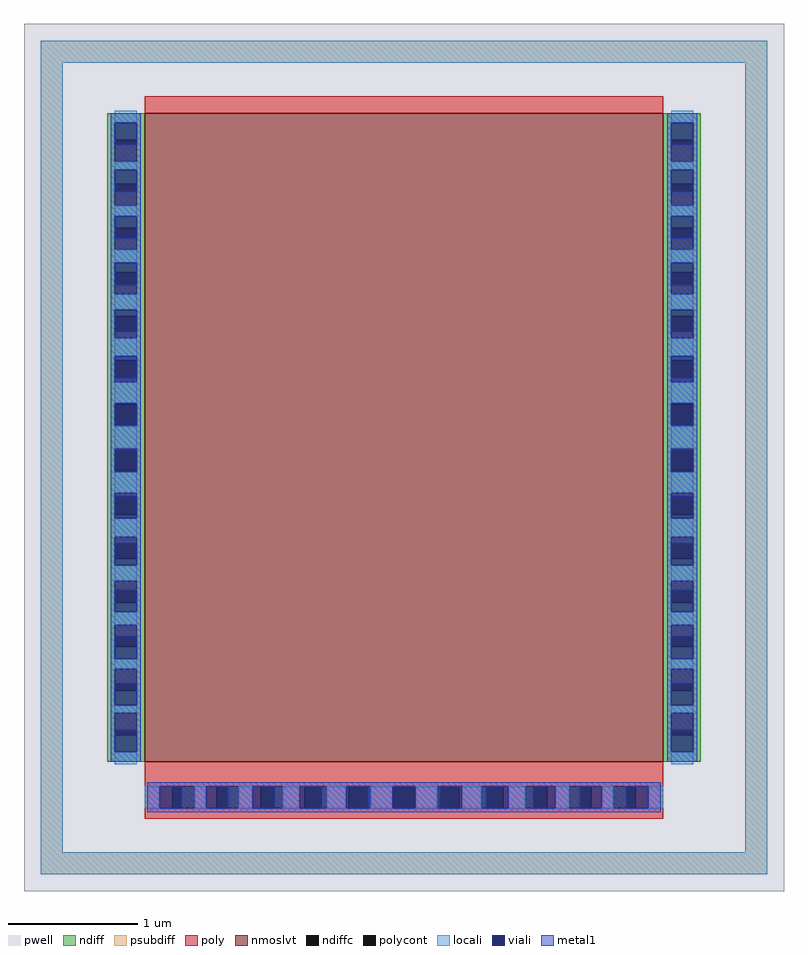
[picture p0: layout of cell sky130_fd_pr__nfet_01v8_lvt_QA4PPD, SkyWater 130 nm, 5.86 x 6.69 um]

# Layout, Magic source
magic
tech sky130A
magscale 1 2
<< pwell >>
rect -586 -669 586 669
<< nmoslvt >>
rect -400 -469 400 531
<< ndiff >>
rect -458 490 -400 531
rect -458 456 -446 490
rect -412 456 -400 490
rect -458 422 -400 456
rect -458 388 -446 422
rect -412 388 -400 422
rect -458 354 -400 388
rect -458 320 -446 354
rect -412 320 -400 354
rect -458 286 -400 320
rect -458 252 -446 286
rect -412 252 -400 286
rect -458 218 -400 252
rect -458 184 -446 218
rect -412 184 -400 218
rect -458 150 -400 184
rect -458 116 -446 150
rect -412 116 -400 150
rect -458 82 -400 116
rect -458 48 -446 82
rect -412 48 -400 82
rect -458 14 -400 48
rect -458 -20 -446 14
rect -412 -20 -400 14
rect -458 -54 -400 -20
rect -458 -88 -446 -54
rect -412 -88 -400 -54
rect -458 -122 -400 -88
rect -458 -156 -446 -122
rect -412 -156 -400 -122
rect -458 -190 -400 -156
rect -458 -224 -446 -190
rect -412 -224 -400 -190
rect -458 -258 -400 -224
rect -458 -292 -446 -258
rect -412 -292 -400 -258
rect -458 -326 -400 -292
rect -458 -360 -446 -326
rect -412 -360 -400 -326
rect -458 -394 -400 -360
rect -458 -428 -446 -394
rect -412 -428 -400 -394
rect -458 -469 -400 -428
rect 400 490 458 531
rect 400 456 412 490
rect 446 456 458 490
rect 400 422 458 456
rect 400 388 412 422
rect 446 388 458 422
rect 400 354 458 388
rect 400 320 412 354
rect 446 320 458 354
rect 400 286 458 320
rect 400 252 412 286
rect 446 252 458 286
rect 400 218 458 252
rect 400 184 412 218
rect 446 184 458 218
rect 400 150 458 184
rect 400 116 412 150
rect 446 116 458 150
rect 400 82 458 116
rect 400 48 412 82
rect 446 48 458 82
rect 400 14 458 48
rect 400 -20 412 14
rect 446 -20 458 14
rect 400 -54 458 -20
rect 400 -88 412 -54
rect 446 -88 458 -54
rect 400 -122 458 -88
rect 400 -156 412 -122
rect 446 -156 458 -122
rect 400 -190 458 -156
rect 400 -224 412 -190
rect 446 -224 458 -190
rect 400 -258 458 -224
rect 400 -292 412 -258
rect 446 -292 458 -258
rect 400 -326 458 -292
rect 400 -360 412 -326
rect 446 -360 458 -326
rect 400 -394 458 -360
rect 400 -428 412 -394
rect 446 -428 458 -394
rect 400 -469 458 -428
<< ndiffc >>
rect -446 456 -412 490
rect -446 388 -412 422
rect -446 320 -412 354
rect -446 252 -412 286
rect -446 184 -412 218
rect -446 116 -412 150
rect -446 48 -412 82
rect -446 -20 -412 14
rect -446 -88 -412 -54
rect -446 -156 -412 -122
rect -446 -224 -412 -190
rect -446 -292 -412 -258
rect -446 -360 -412 -326
rect -446 -428 -412 -394
rect 412 456 446 490
rect 412 388 446 422
rect 412 320 446 354
rect 412 252 446 286
rect 412 184 446 218
rect 412 116 446 150
rect 412 48 446 82
rect 412 -20 446 14
rect 412 -88 446 -54
rect 412 -156 446 -122
rect 412 -224 446 -190
rect 412 -292 446 -258
rect 412 -360 446 -326
rect 412 -428 446 -394
<< psubdiff >>
rect -560 609 560 643
rect -560 -609 -526 609
rect 526 -609 560 609
rect -560 -643 560 -609
<< poly >>
rect -400 531 400 557
rect -400 -507 400 -469
rect -400 -541 -357 -507
rect -323 -541 -289 -507
rect -255 -541 -221 -507
rect -187 -541 -153 -507
rect -119 -541 -85 -507
rect -51 -541 -17 -507
rect 17 -541 51 -507
rect 85 -541 119 -507
rect 153 -541 187 -507
rect 221 -541 255 -507
rect 289 -541 323 -507
rect 357 -541 400 -507
rect -400 -557 400 -541
<< polycont >>
rect -357 -541 -323 -507
rect -289 -541 -255 -507
rect -221 -541 -187 -507
rect -153 -541 -119 -507
rect -85 -541 -51 -507
rect -17 -541 17 -507
rect 51 -541 85 -507
rect 119 -541 153 -507
rect 187 -541 221 -507
rect 255 -541 289 -507
rect 323 -541 357 -507
<< locali >>
rect -560 609 560 643
rect -560 -609 -526 609
rect -446 516 -412 535
rect -446 444 -412 456
rect -446 372 -412 388
rect -446 300 -412 320
rect -446 228 -412 252
rect -446 156 -412 184
rect -446 84 -412 116
rect -446 14 -412 48
rect -446 -54 -412 -22
rect -446 -122 -412 -94
rect -446 -190 -412 -166
rect -446 -258 -412 -238
rect -446 -326 -412 -310
rect -446 -394 -412 -382
rect -446 -473 -412 -454
rect 412 516 446 535
rect 412 444 446 456
rect 412 372 446 388
rect 412 300 446 320
rect 412 228 446 252
rect 412 156 446 184
rect 412 84 446 116
rect 412 14 446 48
rect 412 -54 446 -22
rect 412 -122 446 -94
rect 412 -190 446 -166
rect 412 -258 446 -238
rect 412 -326 446 -310
rect 412 -394 446 -382
rect 412 -473 446 -454
rect -400 -541 -377 -507
rect -323 -541 -305 -507
rect -255 -541 -233 -507
rect -187 -541 -161 -507
rect -119 -541 -89 -507
rect -51 -541 -17 -507
rect 17 -541 51 -507
rect 89 -541 119 -507
rect 161 -541 187 -507
rect 233 -541 255 -507
rect 305 -541 323 -507
rect 377 -541 400 -507
rect 526 -609 560 609
rect -560 -643 560 -609
<< viali >>
rect -446 490 -412 516
rect -446 482 -412 490
rect -446 422 -412 444
rect -446 410 -412 422
rect -446 354 -412 372
rect -446 338 -412 354
rect -446 286 -412 300
rect -446 266 -412 286
rect -446 218 -412 228
rect -446 194 -412 218
rect -446 150 -412 156
rect -446 122 -412 150
rect -446 82 -412 84
rect -446 50 -412 82
rect -446 -20 -412 12
rect -446 -22 -412 -20
rect -446 -88 -412 -60
rect -446 -94 -412 -88
rect -446 -156 -412 -132
rect -446 -166 -412 -156
rect -446 -224 -412 -204
rect -446 -238 -412 -224
rect -446 -292 -412 -276
rect -446 -310 -412 -292
rect -446 -360 -412 -348
rect -446 -382 -412 -360
rect -446 -428 -412 -420
rect -446 -454 -412 -428
rect 412 490 446 516
rect 412 482 446 490
rect 412 422 446 444
rect 412 410 446 422
rect 412 354 446 372
rect 412 338 446 354
rect 412 286 446 300
rect 412 266 446 286
rect 412 218 446 228
rect 412 194 446 218
rect 412 150 446 156
rect 412 122 446 150
rect 412 82 446 84
rect 412 50 446 82
rect 412 -20 446 12
rect 412 -22 446 -20
rect 412 -88 446 -60
rect 412 -94 446 -88
rect 412 -156 446 -132
rect 412 -166 446 -156
rect 412 -224 446 -204
rect 412 -238 446 -224
rect 412 -292 446 -276
rect 412 -310 446 -292
rect 412 -360 446 -348
rect 412 -382 446 -360
rect 412 -428 446 -420
rect 412 -454 446 -428
rect -377 -541 -357 -507
rect -357 -541 -343 -507
rect -305 -541 -289 -507
rect -289 -541 -271 -507
rect -233 -541 -221 -507
rect -221 -541 -199 -507
rect -161 -541 -153 -507
rect -153 -541 -127 -507
rect -89 -541 -85 -507
rect -85 -541 -55 -507
rect -17 -541 17 -507
rect 55 -541 85 -507
rect 85 -541 89 -507
rect 127 -541 153 -507
rect 153 -541 161 -507
rect 199 -541 221 -507
rect 221 -541 233 -507
rect 271 -541 289 -507
rect 289 -541 305 -507
rect 343 -541 357 -507
rect 357 -541 377 -507
<< metal1 >>
rect -452 516 -406 531
rect -452 482 -446 516
rect -412 482 -406 516
rect -452 444 -406 482
rect -452 410 -446 444
rect -412 410 -406 444
rect -452 372 -406 410
rect -452 338 -446 372
rect -412 338 -406 372
rect -452 300 -406 338
rect -452 266 -446 300
rect -412 266 -406 300
rect -452 228 -406 266
rect -452 194 -446 228
rect -412 194 -406 228
rect -452 156 -406 194
rect -452 122 -446 156
rect -412 122 -406 156
rect -452 84 -406 122
rect -452 50 -446 84
rect -412 50 -406 84
rect -452 12 -406 50
rect -452 -22 -446 12
rect -412 -22 -406 12
rect -452 -60 -406 -22
rect -452 -94 -446 -60
rect -412 -94 -406 -60
rect -452 -132 -406 -94
rect -452 -166 -446 -132
rect -412 -166 -406 -132
rect -452 -204 -406 -166
rect -452 -238 -446 -204
rect -412 -238 -406 -204
rect -452 -276 -406 -238
rect -452 -310 -446 -276
rect -412 -310 -406 -276
rect -452 -348 -406 -310
rect -452 -382 -446 -348
rect -412 -382 -406 -348
rect -452 -420 -406 -382
rect -452 -454 -446 -420
rect -412 -454 -406 -420
rect -452 -469 -406 -454
rect 406 516 452 531
rect 406 482 412 516
rect 446 482 452 516
rect 406 444 452 482
rect 406 410 412 444
rect 446 410 452 444
rect 406 372 452 410
rect 406 338 412 372
rect 446 338 452 372
rect 406 300 452 338
rect 406 266 412 300
rect 446 266 452 300
rect 406 228 452 266
rect 406 194 412 228
rect 446 194 452 228
rect 406 156 452 194
rect 406 122 412 156
rect 446 122 452 156
rect 406 84 452 122
rect 406 50 412 84
rect 446 50 452 84
rect 406 12 452 50
rect 406 -22 412 12
rect 446 -22 452 12
rect 406 -60 452 -22
rect 406 -94 412 -60
rect 446 -94 452 -60
rect 406 -132 452 -94
rect 406 -166 412 -132
rect 446 -166 452 -132
rect 406 -204 452 -166
rect 406 -238 412 -204
rect 446 -238 452 -204
rect 406 -276 452 -238
rect 406 -310 412 -276
rect 446 -310 452 -276
rect 406 -348 452 -310
rect 406 -382 412 -348
rect 446 -382 452 -348
rect 406 -420 452 -382
rect 406 -454 412 -420
rect 446 -454 452 -420
rect 406 -469 452 -454
rect -396 -507 396 -501
rect -396 -541 -377 -507
rect -343 -541 -305 -507
rect -271 -541 -233 -507
rect -199 -541 -161 -507
rect -127 -541 -89 -507
rect -55 -541 -17 -507
rect 17 -541 55 -507
rect 89 -541 127 -507
rect 161 -541 199 -507
rect 233 -541 271 -507
rect 305 -541 343 -507
rect 377 -541 396 -507
rect -396 -547 396 -541
<< properties >>
string FIXED_BBOX -543 -626 543 626
<< end >>
